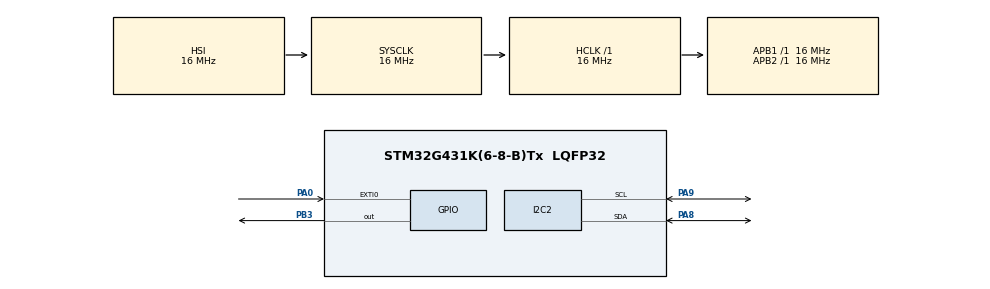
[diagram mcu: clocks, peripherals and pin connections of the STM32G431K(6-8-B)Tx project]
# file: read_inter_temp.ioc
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ADC1.Channel-0\#ChannelRegularConversion=ADC_CHANNEL_VREFINT
ADC1.Channel-1\#ChannelRegularConversion=ADC_CHANNEL_TEMPSENSOR_ADC1
ADC1.ContinuousConvMode=ENABLE
ADC1.DMAContinuousRequests=ENABLE
ADC1.ExternalTrigConv=ADC_EXTERNALTRIG_T15_TRGO
ADC1.NbrOfConversion=2
ADC1.NbrOfConversionFlag=1
ADC1.OffsetNumber-0\#ChannelRegularConversion=ADC_OFFSET_NONE
ADC1.OffsetNumber-1\#ChannelRegularConversion=ADC_OFFSET_NONE
ADC1.Rank-0\#ChannelRegularConversion=1
ADC1.Rank-1\#ChannelRegularConversion=2
ADC1.SamplingTime-0\#ChannelRegularConversion=ADC_SAMPLETIME_640CYCLES_5
ADC1.SamplingTime-1\#ChannelRegularConversion=ADC_SAMPLETIME_640CYCLES_5
ADC1.master=1
Dma.ADC1.0.Direction=DMA_PERIPH_TO_MEMORY
Dma.ADC1.0.EventEnable=DISABLE
Dma.ADC1.0.Instance=DMA1_Channel1
Dma.ADC1.0.MemDataAlignment=DMA_MDATAALIGN_HALFWORD
Dma.ADC1.0.MemInc=DMA_MINC_ENABLE
Dma.ADC1.0.Mode=DMA_CIRCULAR
Dma.ADC1.0.PeriphDataAlignment=DMA_PDATAALIGN_HALFWORD
Dma.ADC1.0.PeriphInc=DMA_PINC_DISABLE
Dma.ADC1.0.Polarity=HAL_DMAMUX_REQ_GEN_RISING
Dma.ADC1.0.Priority=DMA_PRIORITY_LOW
Dma.ADC1.0.RequestNumber=1
Dma.ADC1.0.SignalID=NONE
Dma.ADC1.0.SyncEnable=DISABLE
Dma.ADC1.0.SyncPolarity=HAL_DMAMUX_SYNC_NO_EVENT
Dma.ADC1.0.SyncRequestNumber=1
Dma.ADC1.0.SyncSignalID=NONE
Dma.Request0=ADC1
I2C2.CustomTiming=Enabled
I2C2.Timing=0x40B285C2
Mcu.Family=STM32G4
Mcu.Name=STM32G431K(6-8-B)Tx
Mcu.Package=LQFP32
NUCLEO-G431KB.Bsp_Common_DEMO=true
NUCLEO-G431KB.LD2=true
NUCLEO-G431KB.VCP=true
NVIC.ADC1_2_IRQn=true\:0\:0\:false\:false\:true\:true\:true\:true
NVIC.DMA1_Channel1_IRQn=true\:0\:0\:false\:false\:true\:false\:true\:true
NVIC.EXTI0_IRQn=true\:0\:0\:false\:true\:true\:1\:true\:true\:true
NVIC.I2C2_ER_IRQn=true\:0\:0\:false\:true\:true\:3\:true\:true\:true
NVIC.I2C2_EV_IRQn=true\:0\:0\:false\:true\:true\:2\:true\:true\:true
NVIC.PriorityGroup=NVIC_PRIORITYGROUP_4
PA0.GPIO_ModeDefaultEXTI=GPIO_MODE_IT_FALLING
PA0.Signal=GPXTI0
PA13.Mode=Serial_Wire
PA13.Signal=SYS_JTMS-SWDIO
PA14.Mode=Serial_Wire
PA14.Signal=SYS_JTCK-SWCLK
PA2.Signal=USART2_TX
PA3.Signal=USART2_RX
PA8.Mode=I2C
PA8.Signal=I2C2_SDA
PA9.Mode=I2C
PA9.Signal=I2C2_SCL
PB3.Signal=GPIO_Output
ProjectManager.HeapSize=0x200
ProjectManager.StackSize=0x400
ProjectManager.TargetToolchain=STM32CubeIDE
RCC.ADC12Freq_Value=16000000
RCC.AHBFreq_Value=16000000
RCC.APB1Freq_Value=16000000
RCC.APB1TimFreq_Value=16000000
RCC.APB2Freq_Value=16000000
RCC.APB2TimFreq_Value=16000000
RCC.CortexFreq_Value=16000000
RCC.EXTERNAL_CLOCK_VALUE=12288000
RCC.HCLKFreq_Value=16000000
RCC.HSE_VALUE=8000000
RCC.HSI48_VALUE=48000000
RCC.HSI_VALUE=16000000
RCC.LSE_VALUE=32768
RCC.PLLM=RCC_PLLM_DIV8
RCC.PLLN=96
RCC.SYSCLKFreq_VALUE=16000000
RCC.USBFreq_Value=96000000
RCC.VCOOutputFreq_Value=192000000
VP_ADC1_TempSens_Input.Mode=IN-TempSens
VP_ADC1_Vref_Input.Mode=IN-Vrefint
VP_NUCLEO-G431KB_VS_BSP_COMMON.Mode=COMMON
VP_RTC_VS_RTC_Activate.Mode=RTC_Enabled
VP_SYS_VS_DBSignals.Mode=DisableDeadBatterySignals
VP_SYS_V_PVD_IN.Mode=Mode_PVD_Int
VP_TIM15_VS_ClockSourceINT.Mode=Internal
board=NUCLEO-G431KB

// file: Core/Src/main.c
/* USER CODE BEGIN Header */
/**
  ******************************************************************************
  * @file           : main.c
  * @brief          : Main program body
  ******************************************************************************
  * @attention
  *
  * Copyright (c) 2026 STMicroelectronics.
  * All rights reserved.
  *
  * This software is licensed under terms that can be found in the LICENSE file
  * in the root directory of this software component.
  * If no LICENSE file comes with this software, it is provided AS-IS.
  *
  ******************************************************************************
  */
/* USER CODE END Header */
#include "main.h"

/* USER CODE BEGIN PTD */
uint16_t adc_val, ref_adc, ts_ref, ts_cal1, ts_cal2;
float vdd, temp, avg_temp = 0.0f;
float alpha = 0.075;

/* USER CODE END PTD */

/* USER CODE BEGIN PD */
#define TS_CAL1 ((uint16_t * ) 0x1FFF75A8)
#define TS_CAL2 ((uint16_t * ) 0x1FFF75CA)
#define VREFINT_CAL ((uint16_t * ) 0x1FFF75AB)

/* USER CODE END PD */

COM_InitTypeDef BspCOMInit;

ADC_HandleTypeDef hadc1;
DMA_HandleTypeDef hdma_adc1;

I2C_HandleTypeDef hi2c2;

RTC_HandleTypeDef hrtc;

TIM_HandleTypeDef htim15;

void SystemClock_Config(void);
static void MX_GPIO_Init(void);
static void MX_DMA_Init(void);
static void MX_I2C2_Init(void);
static void MX_ADC1_Init(void);
static void MX_RTC_Init(void);
static void MX_TIM15_Init(void);
static void MX_NVIC_Init(void);

int main(void)
{

  /* MCU Configuration--------------------------------------------------------*/

  /* Reset of all peripherals, Initializes the Flash interface and the Systick. */
  HAL_Init();

  /* Configure the system clock */
  SystemClock_Config();

  /* Initialize all configured peripherals */
  MX_GPIO_Init();
  MX_DMA_Init();
  MX_I2C2_Init();
  MX_ADC1_Init();
  MX_RTC_Init();
  MX_TIM15_Init();

  /* Initialize interrupts */
  MX_NVIC_Init();

  /* Initialize leds */
  BSP_LED_Init(LED_GREEN);

  /* Initialize COM1 port (115200, 8 bits (7-bit data + 1 stop bit), no parity */
  BspCOMInit.BaudRate   = 115200;
  BspCOMInit.WordLength = COM_WORDLENGTH_8B;
  BspCOMInit.StopBits   = COM_STOPBITS_1;
  BspCOMInit.Parity     = COM_PARITY_NONE;
  BspCOMInit.HwFlowCtl  = COM_HWCONTROL_NONE;
  if (BSP_COM_Init(COM1, &BspCOMInit) != BSP_ERROR_NONE)
  {
    Error_Handler();
  }

  /* USER CODE BEGIN BSP */

  /* -- Sample board code to send message over COM1 port ---- */
  printf("Welcome to STM32 world !\n\r");

  /* -- Sample board code to switch on leds ---- */
  BSP_LED_On(LED_GREEN);

  /* USER CODE END BSP */

  /* Infinite loop */
  /* USER CODE BEGIN WHILE */

  while (1)
  {

/* -- Sample board code to toggle leds ---- */
       BSP_LED_Toggle(LED_GREEN);

    /* USER CODE END WHILE */

    /* USER CODE BEGIN 3 */
    HAL_ADC_Start(&hadc1);
    HAL_ADC_PollForConversion(&hadc1, 10);
    adc_val = HAL_ADC_GetValue(&hadc1);

    HAL_ADC_PollForConversion(&hadc1, 10);
    ref_adc = HAL_ADC_GetValue(&hadc1);

    HAL_ADC_Stop(&hadc1);

    if (ref_adc > 0){
//    vdd calculation
    ts_ref = *VREFINT_CAL;
    ts_cal1 = *TS_CAL1;
    ts_cal2 = *TS_CAL2;

    vdd=((float)(ts_ref*3.0f)/(float)ref_adc);
    temp = ((float)(adc_val*(vdd/3.0f)-ts_cal1))*(110.0f-30.0f)/((float)(ts_cal2-ts_cal1))+30.0f;
    avg_temp=alpha*temp+(1.0f-alpha)*avg_temp;

    printf("Temperature: %.2f C\n\r", avg_temp);
    } else {
    	printf("Error: ADC Read Failed\n\r");
    }
    HAL_Delay(10000);
  }
  /* USER CODE END 3 */
}

void SystemClock_Config(void)
{
  RCC_OscInitTypeDef RCC_OscInitStruct = {0};
  RCC_ClkInitTypeDef RCC_ClkInitStruct = {0};

  /** Configure the main internal regulator output voltage
  */
  HAL_PWREx_ControlVoltageScaling(PWR_REGULATOR_VOLTAGE_SCALE1);

  /** Initializes the RCC Oscillators according to the specified parameters
  * in the RCC_OscInitTypeDef structure.
  */
  RCC_OscInitStruct.OscillatorType = RCC_OSCILLATORTYPE_HSI|RCC_OSCILLATORTYPE_LSI;
  RCC_OscInitStruct.HSIState = RCC_HSI_ON;
  RCC_OscInitStruct.HSICalibrationValue = RCC_HSICALIBRATION_DEFAULT;
  RCC_OscInitStruct.LSIState = RCC_LSI_ON;
  RCC_OscInitStruct.PLL.PLLState = RCC_PLL_NONE;
  if (HAL_RCC_OscConfig(&RCC_OscInitStruct) != HAL_OK)
  {
    Error_Handler();
  }

  /** Initializes the CPU, AHB and APB buses clocks
  */
  RCC_ClkInitStruct.ClockType = RCC_CLOCKTYPE_HCLK|RCC_CLOCKTYPE_SYSCLK
                              |RCC_CLOCKTYPE_PCLK1|RCC_CLOCKTYPE_PCLK2;
  RCC_ClkInitStruct.SYSCLKSource = RCC_SYSCLKSOURCE_HSI;
  RCC_ClkInitStruct.AHBCLKDivider = RCC_SYSCLK_DIV1;
  RCC_ClkInitStruct.APB1CLKDivider = RCC_HCLK_DIV1;
  RCC_ClkInitStruct.APB2CLKDivider = RCC_HCLK_DIV1;

  if (HAL_RCC_ClockConfig(&RCC_ClkInitStruct, FLASH_LATENCY_0) != HAL_OK)
  {
    Error_Handler();
  }
}

/**
  * @brief NVIC Configuration.
  * @retval None
  */
static void MX_NVIC_Init(void)
{
  /* EXTI0_IRQn interrupt configuration */
  HAL_NVIC_SetPriority(EXTI0_IRQn, 0, 0);
  HAL_NVIC_EnableIRQ(EXTI0_IRQn);
  /* I2C2_EV_IRQn interrupt configuration */
  HAL_NVIC_SetPriority(I2C2_EV_IRQn, 0, 0);
  HAL_NVIC_EnableIRQ(I2C2_EV_IRQn);
  /* I2C2_ER_IRQn interrupt configuration */
  HAL_NVIC_SetPriority(I2C2_ER_IRQn, 0, 0);
  HAL_NVIC_EnableIRQ(I2C2_ER_IRQn);
}

static void MX_ADC1_Init(void)
{

  ADC_MultiModeTypeDef multimode = {0};
  ADC_ChannelConfTypeDef sConfig = {0};

  /** Common config
  */
  hadc1.Instance = ADC1;
  hadc1.Init.ClockPrescaler = ADC_CLOCK_SYNC_PCLK_DIV2;
  hadc1.Init.Resolution = ADC_RESOLUTION_12B;
  hadc1.Init.DataAlign = ADC_DATAALIGN_RIGHT;
  hadc1.Init.GainCompensation = 0;
  hadc1.Init.ScanConvMode = ADC_SCAN_ENABLE;
  hadc1.Init.EOCSelection = ADC_EOC_SINGLE_CONV;
  hadc1.Init.LowPowerAutoWait = DISABLE;
  hadc1.Init.ContinuousConvMode = ENABLE;
  hadc1.Init.NbrOfConversion = 2;
  hadc1.Init.DiscontinuousConvMode = DISABLE;
  hadc1.Init.ExternalTrigConv = ADC_EXTERNALTRIG_T15_TRGO;
  hadc1.Init.ExternalTrigConvEdge = ADC_EXTERNALTRIGCONVEDGE_RISING;
  hadc1.Init.DMAContinuousRequests = ENABLE;
  hadc1.Init.Overrun = ADC_OVR_DATA_PRESERVED;
  hadc1.Init.OversamplingMode = DISABLE;
  if (HAL_ADC_Init(&hadc1) != HAL_OK)
  {
    Error_Handler();
  }

  /** Configure the ADC multi-mode
  */
  multimode.Mode = ADC_MODE_INDEPENDENT;
  if (HAL_ADCEx_MultiModeConfigChannel(&hadc1, &multimode) != HAL_OK)
  {
    Error_Handler();
  }

  /** Configure Regular Channel
  */
  sConfig.Channel = ADC_CHANNEL_VREFINT;
  sConfig.Rank = ADC_REGULAR_RANK_1;
  sConfig.SamplingTime = ADC_SAMPLETIME_640CYCLES_5;
  sConfig.SingleDiff = ADC_SINGLE_ENDED;
  sConfig.OffsetNumber = ADC_OFFSET_NONE;
  sConfig.Offset = 0;
  if (HAL_ADC_ConfigChannel(&hadc1, &sConfig) != HAL_OK)
  {
    Error_Handler();
  }

  /** Configure Regular Channel
  */
  sConfig.Channel = ADC_CHANNEL_TEMPSENSOR_ADC1;
  sConfig.Rank = ADC_REGULAR_RANK_2;
  if (HAL_ADC_ConfigChannel(&hadc1, &sConfig) != HAL_OK)
  {
    Error_Handler();
  }

}

static void MX_I2C2_Init(void)
{

  hi2c2.Instance = I2C2;
  hi2c2.Init.Timing = 0x40B285C2;
  hi2c2.Init.OwnAddress1 = 0;
  hi2c2.Init.AddressingMode = I2C_ADDRESSINGMODE_7BIT;
  hi2c2.Init.DualAddressMode = I2C_DUALADDRESS_DISABLE;
  hi2c2.Init.OwnAddress2 = 0;
  hi2c2.Init.OwnAddress2Masks = I2C_OA2_NOMASK;
  hi2c2.Init.GeneralCallMode = I2C_GENERALCALL_DISABLE;
  hi2c2.Init.NoStretchMode = I2C_NOSTRETCH_DISABLE;
  if (HAL_I2C_Init(&hi2c2) != HAL_OK)
  {
    Error_Handler();
  }

  /** Configure Analogue filter
  */
  if (HAL_I2CEx_ConfigAnalogFilter(&hi2c2, I2C_ANALOGFILTER_ENABLE) != HAL_OK)
  {
    Error_Handler();
  }

  /** Configure Digital filter
  */
  if (HAL_I2CEx_ConfigDigitalFilter(&hi2c2, 0) != HAL_OK)
  {
    Error_Handler();
  }

}

static void MX_RTC_Init(void)
{

  /** Initialize RTC Only
  */
  hrtc.Instance = RTC;
  hrtc.Init.HourFormat = RTC_HOURFORMAT_24;
  hrtc.Init.AsynchPrediv = 127;
  hrtc.Init.SynchPrediv = 255;
  hrtc.Init.OutPut = RTC_OUTPUT_DISABLE;
  hrtc.Init.OutPutRemap = RTC_OUTPUT_REMAP_NONE;
  hrtc.Init.OutPutPolarity = RTC_OUTPUT_POLARITY_HIGH;
  hrtc.Init.OutPutType = RTC_OUTPUT_TYPE_OPENDRAIN;
  hrtc.Init.OutPutPullUp = RTC_OUTPUT_PULLUP_NONE;
  if (HAL_RTC_Init(&hrtc) != HAL_OK)
  {
    Error_Handler();
  }

}

static void MX_TIM15_Init(void)
{

  TIM_ClockConfigTypeDef sClockSourceConfig = {0};
  TIM_MasterConfigTypeDef sMasterConfig = {0};

  htim15.Instance = TIM15;
  htim15.Init.Prescaler = 0;
  htim15.Init.CounterMode = TIM_COUNTERMODE_UP;
  htim15.Init.Period = 65535;
  htim15.Init.ClockDivision = TIM_CLOCKDIVISION_DIV1;
  htim15.Init.RepetitionCounter = 0;
  htim15.Init.AutoReloadPreload = TIM_AUTORELOAD_PRELOAD_DISABLE;
  if (HAL_TIM_Base_Init(&htim15) != HAL_OK)
  {
    Error_Handler();
  }
  sClockSourceConfig.ClockSource = TIM_CLOCKSOURCE_INTERNAL;
  if (HAL_TIM_ConfigClockSource(&htim15, &sClockSourceConfig) != HAL_OK)
  {
    Error_Handler();
  }
  sMasterConfig.MasterOutputTrigger = TIM_TRGO_RESET;
  sMasterConfig.MasterSlaveMode = TIM_MASTERSLAVEMODE_DISABLE;
  if (HAL_TIMEx_MasterConfigSynchronization(&htim15, &sMasterConfig) != HAL_OK)
  {
    Error_Handler();
  }

}

static void MX_DMA_Init(void)
{

  /* DMA controller clock enable */
  __HAL_RCC_DMAMUX1_CLK_ENABLE();
  __HAL_RCC_DMA1_CLK_ENABLE();

  /* DMA interrupt init */
  /* DMA1_Channel1_IRQn interrupt configuration */
  HAL_NVIC_SetPriority(DMA1_Channel1_IRQn, 0, 0);
  HAL_NVIC_EnableIRQ(DMA1_Channel1_IRQn);

}

static void MX_GPIO_Init(void)
{
  GPIO_InitTypeDef GPIO_InitStruct = {0};

  /* GPIO Ports Clock Enable */
  __HAL_RCC_GPIOA_CLK_ENABLE();
  __HAL_RCC_GPIOB_CLK_ENABLE();

  /*Configure GPIO pin Output Level */
  HAL_GPIO_WritePin(GPIOB, GPIO_PIN_3, GPIO_PIN_RESET);

  /*Configure GPIO pin : PA0 */
  GPIO_InitStruct.Pin = GPIO_PIN_0;
  GPIO_InitStruct.Mode = GPIO_MODE_IT_FALLING;
  GPIO_InitStruct.Pull = GPIO_NOPULL;
  HAL_GPIO_Init(GPIOA, &GPIO_InitStruct);

  /*Configure GPIO pin : PB3 */
  GPIO_InitStruct.Pin = GPIO_PIN_3;
  GPIO_InitStruct.Mode = GPIO_MODE_OUTPUT_PP;
  GPIO_InitStruct.Pull = GPIO_NOPULL;
  GPIO_InitStruct.Speed = GPIO_SPEED_FREQ_LOW;
  HAL_GPIO_Init(GPIOB, &GPIO_InitStruct);

}

/* USER CODE BEGIN Header */
/**
  ******************************************************************************
  * @file           : main.c
  * @brief          : Main program body
  ******************************************************************************
  * @attention
  *
  * Copyright (c) 2026 STMicroelectronics.
  * All rights reserved.
  *
  * This software is licensed under terms that can be found in the LICENSE file
  * in the root directory of this software component.
  * If no LICENSE file comes with this software, it is provided AS-IS.
  *
  ******************************************************************************
  */
/* USER CODE END Header */

void Error_Handler(void)
{
  __disable_irq();
  while (1)
  {
  }
}
